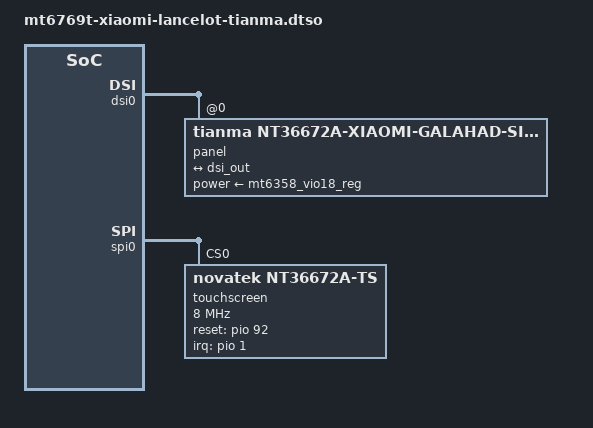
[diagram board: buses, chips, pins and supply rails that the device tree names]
// SPDX-License-Identifier: GPL-2.0-only
/*
 * Device Tree Source for Xiaomi Redmi 9 with Tianma NT36672A panel
 */

/dts-v1/;
/plugin/;

#include <dt-bindings/interrupt-controller/irq.h>
#include <dt-bindings/gpio/gpio.h>

&dsi0 {
	status = "okay";
	#address-cells = <1>;
	#size-cells = <0>;

	panel: panel@0 {
		compatible = "tianma,nt36672a-xiaomi-galahad-simple";
		reg = <0>;
		power-supply = <&mt6358_vio18_reg>;

		port {
			panel_in: endpoint {
				remote-endpoint = <&dsi_out>;
			};
		};
	};
};

&dsi_out {
	remote-endpoint = <&panel_in>;
};

&spi0 {
       status = "okay";
       #address-cells = <1>;
       #size-cells = <0>;
       mediatek,pad-select = <0>;

       touchscreen@0 {
               compatible = "novatek,nt36672a-ts";
               reg = <0>;

               firmware-name = "ts.bin";

               interrupts-extended = <&pio 1 IRQ_TYPE_EDGE_RISING>;
               reset-gpios = <&pio 92 GPIO_ACTIVE_HIGH>;
               panel = <&panel>;

               spi-cs-setup-delay-ns = <20>;
               spi-max-frequency = <8000000>;
       };
};
